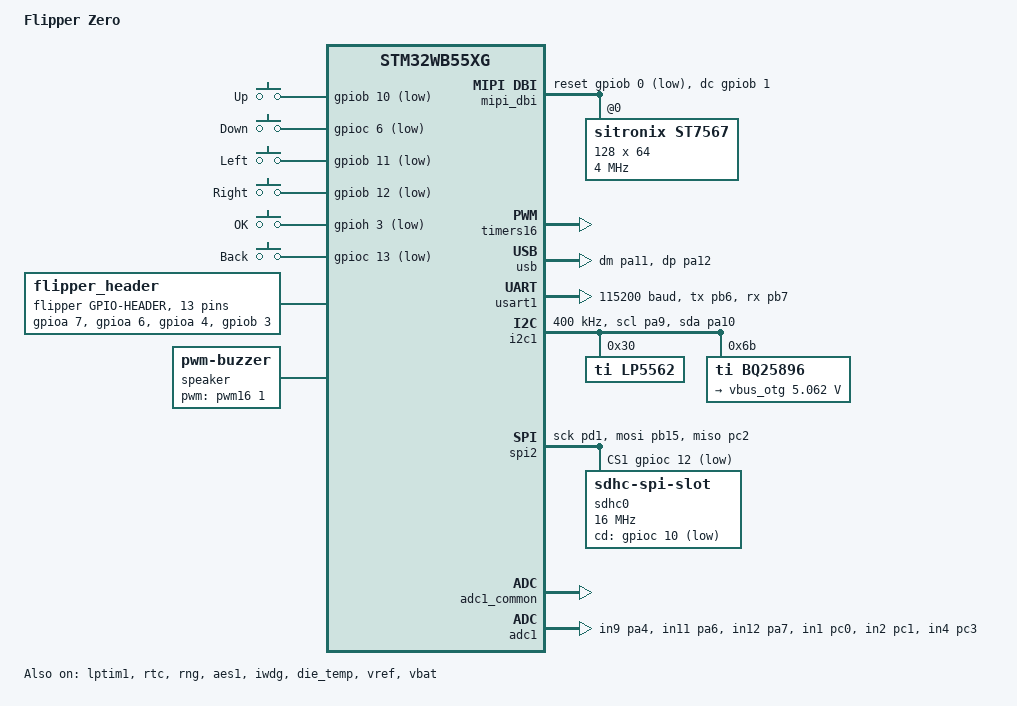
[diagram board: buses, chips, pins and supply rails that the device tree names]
/*
 * SPDX-FileCopyrightText: Copyright The Zephyr Project Contributors
 * SPDX-License-Identifier: Apache-2.0
 */

/dts-v1/;
#include <st/wb/stm32wb55Xg.dtsi>
#include <st/wb/stm32wb55rgvx-pinctrl.dtsi>
#include <zephyr/dt-bindings/input/input-event-codes.h>
#include <zephyr/dt-bindings/mipi_dbi/mipi_dbi.h>
#include <zephyr/dt-bindings/pwm/pwm.h>

/ {
	compatible = "flipper,flipper-zero";
	model = "Flipper Zero";

	aliases {
		buzzer0 = &speaker;
		die-temp0 = &die_temp;
		rtc = &rtc;
		sw0 = &button_ok;
		volt-sensor0 = &vref;
		volt-sensor1 = &vbat;
		watchdog0 = &iwdg;
	};

	chosen {
		zephyr,sram = &sram0;
		zephyr,flash = &flash0;
		zephyr,system-timer = &lptim1;
		zephyr,display = &st7567;
	};

	gpio_keys {
		compatible = "gpio-keys";

		button_up: button_up {
			label = "Up";
			gpios = <&gpiob 10 (GPIO_ACTIVE_LOW | GPIO_PULL_UP)>;
			zephyr,code = <INPUT_KEY_UP>;
		};

		button_down: button_down {
			label = "Down";
			gpios = <&gpioc 6 (GPIO_ACTIVE_LOW | GPIO_PULL_UP)>;
			zephyr,code = <INPUT_KEY_DOWN>;
		};

		button_left: button_left {
			label = "Left";
			gpios = <&gpiob 11 (GPIO_ACTIVE_LOW | GPIO_PULL_UP)>;
			zephyr,code = <INPUT_KEY_LEFT>;
		};

		button_right: button_right {
			label = "Right";
			gpios = <&gpiob 12 (GPIO_ACTIVE_LOW | GPIO_PULL_UP)>;
			zephyr,code = <INPUT_KEY_RIGHT>;
		};

		button_ok: button_ok {
			label = "OK";
			gpios = <&gpioh 3 (GPIO_ACTIVE_LOW | GPIO_PULL_UP)>;
			zephyr,code = <INPUT_KEY_ENTER>;
		};

		button_back: button_back {
			label = "Back";
			gpios = <&gpioc 13 (GPIO_ACTIVE_LOW | GPIO_PULL_UP)>;
			zephyr,code = <INPUT_KEY_BACK>;
		};
	};

	flipper_header: connector {
		compatible = "flipper,gpio-header";
		#gpio-cells = <2>;
		gpio-map-mask = <0xffffffff 0xffffffc0>;
		gpio-map-pass-thru = <0 0x3f>;
		gpio-map = <2 0 &gpioa 7 0>,	/* PA7 */
			   <3 0 &gpioa 6 0>,	/* PA6 */
			   <4 0 &gpioa 4 0>,	/* PA4 */
			   <5 0 &gpiob 3 0>,	/* PB3 */
			   <6 0 &gpiob 2 0>,	/* PB2 */
			   <7 0 &gpioc 3 0>,	/* PC3 */
			   <10 0 &gpioa 14 0>,	/* PA14, SWCLK */
			   <12 0 &gpioa 13 0>,	/* PA13, SWDIO */
			   <13 0 &gpiob 6 0>,	/* PB6, USART1 TX */
			   <14 0 &gpiob 7 0>,	/* PB7, USART1 RX */
			   <15 0 &gpioc 1 0>,	/* PC1 */
			   <16 0 &gpioc 0 0>,	/* PC0 */
			   <17 0 &gpiob 14 0>;	/* PB14, 1-Wire */
	};

	mipi_dbi {
		compatible = "zephyr,mipi-dbi-spi";
		spi-dev = <&spi2>;
		dc-gpios = <&gpiob 1 GPIO_ACTIVE_HIGH>;
		reset-gpios = <&gpiob 0 GPIO_ACTIVE_LOW>;
		write-only;
		#address-cells = <1>;
		#size-cells = <0>;

		st7567: st7567@0 {
			compatible = "sitronix,st7567";
			reg = <0>;
			mipi-max-frequency = <DT_FREQ_M(4)>;
			mipi-mode = "MIPI_DBI_MODE_SPI_4WIRE";
			width = <128>;
			height = <64>;
			column-offset = <0>;
			line-offset = <0>;
			regulation-ratio = <5>;
			com-invdir;
		};
	};

	speaker: speaker {
		compatible = "pwm-buzzer";
		pwms = <&pwm16 1 PWM_HZ(1000) PWM_POLARITY_NORMAL>;
	};
};

&clk_hse {
	status = "okay";
};

&clk_lse {
	status = "okay";
};

&clk_hsi48 {
	status = "okay";
};

&clk48 {
	clocks = <&rcc STM32_SRC_HSI48 CLK48_SEL(0)>;
};

&rcc {
	clocks = <&clk_hse>;
	clock-frequency = <DT_FREQ_M(32)>;
	cpu1-prescaler = <1>;
	cpu2-prescaler = <1>;
	ahb4-prescaler = <1>;
	apb1-prescaler = <1>;
	apb2-prescaler = <1>;
};

&lptim1 {
	clocks = <&rcc STM32_CLOCK(APB1, 31)>,
		 <&rcc STM32_SRC_LSE LPTIM1_SEL(3)>;
	status = "okay";
};

&rtc {
	clocks = <&rcc STM32_CLOCK(APB1, 10)>,
		 <&rcc STM32_SRC_LSE RTC_SEL(1)>;
	status = "okay";
};

&timers16 {
	st,prescaler = <31>;
	status = "okay";

	pwm16: pwm {
		pinctrl-0 = <&tim16_ch1_pb8>;
		pinctrl-names = "default";
		status = "okay";
	};
};

zephyr_udc0: &usb {
	pinctrl-0 = <&usb_dm_pa11 &usb_dp_pa12>;
	pinctrl-names = "default";
	status = "okay";
};

#include <../boards/common/usb/cdc_acm_serial.dtsi>

/* GPIO header pins 13 (TX) and 14 (RX) */
&usart1 {
	pinctrl-0 = <&usart1_tx_pb6 &usart1_rx_pb7>;
	pinctrl-names = "default";
	current-speed = <115200>;
	status = "okay";
};

/* Power I2C bus */
&i2c1 {
	pinctrl-0 = <&i2c1_scl_pa9 &i2c1_sda_pa10>;
	pinctrl-names = "default";
	clock-frequency = <I2C_BITRATE_FAST>;
	status = "okay";

	/* RGB LED (R, G, B) and display backlight (W) */
	lp5562: led-controller@30 {
		compatible = "ti,lp5562";
		reg = <0x30>;
		red-output-current = <50>;
		green-output-current = <50>;
		blue-output-current = <50>;
		white-output-current = <150>;
	};

	bq25896: charger@6b {
		compatible = "ti,bq25896";
		reg = <0x6b>;

		/* Reset defaults of the device, about 1C for the 2100 mAh battery */
		charger: charger {
			compatible = "ti,bq25896-charger";
			constant-charge-current-max-microamp = <2048000>;
			constant-charge-voltage-max-microvolt = <4208000>;
		};

		/* USB OTG boost, supplies VBUS and GPIO header pin 1 from the battery */
		vbus_otg: regulator {
			compatible = "ti,bq25896-regulator";
			regulator-name = "vbus-otg";
			regulator-init-microvolt = <5062000>;
			regulator-min-microvolt = <5062000>;
			regulator-max-microvolt = <5062000>;
			regulator-init-microamp = <1400000>;
			regulator-boot-off;
		};
	};
};

/* Display and SD card share this bus */
&spi2 {
	pinctrl-0 = <&spi2_sck_pd1 &spi2_mosi_pb15 &spi2_miso_pc2>;
	pinctrl-names = "default";
	cs-gpios = <&gpioc 11 GPIO_ACTIVE_LOW>,
		   <&gpioc 12 GPIO_ACTIVE_LOW>;
	status = "okay";

	sdhc0: sdhc@1 {
		compatible = "zephyr,sdhc-spi-slot";
		reg = <1>;
		spi-max-frequency = <DT_FREQ_M(16)>;
		cd-gpios = <&gpioc 10 (GPIO_ACTIVE_LOW | GPIO_PULL_UP)>;
		status = "okay";

		mmc {
			compatible = "zephyr,sdmmc-disk";
			disk-name = "SD";
			status = "okay";
		};
	};
};

&rng {
	status = "okay";
};

&aes1 {
	status = "okay";
};

&iwdg {
	status = "okay";
};

&adc1_common {
	st,adc-clock-source = "SYNC";
	st,adc-prescaler = <4>;
	status = "okay";
};

&adc1 {
	pinctrl-0 = <&adc1_in9_pa4 &adc1_in11_pa6 &adc1_in12_pa7
		     &adc1_in1_pc0 &adc1_in2_pc1 &adc1_in4_pc3>;
	pinctrl-names = "default";
	status = "okay";
};

&die_temp {
	status = "okay";
};

&vref {
	status = "okay";
};

&vbat {
	status = "okay";
};
